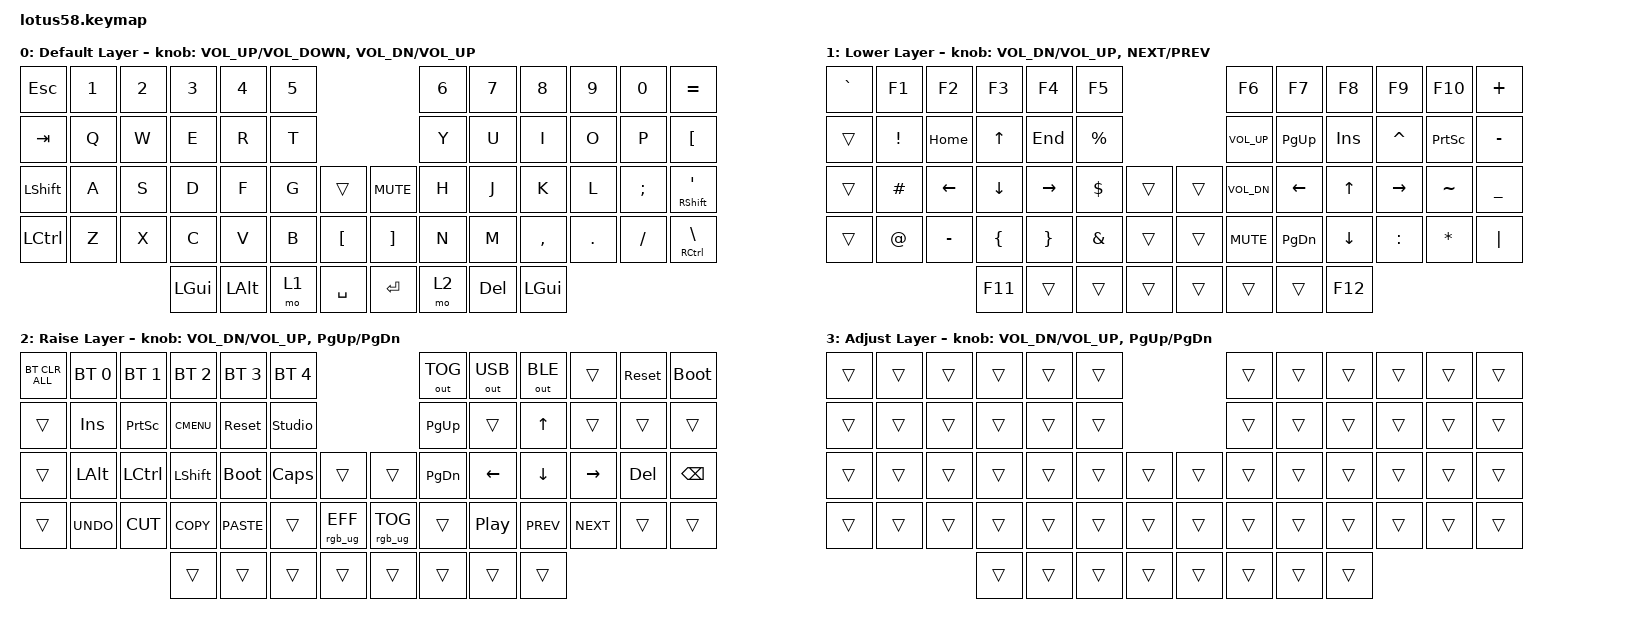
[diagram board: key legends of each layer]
/*
 * Copyright (c) 2022 The ZMK Contributors
 *
 * SPDX-License-Identifier: MIT
 */

#include <dt-bindings/led/led.h>
#include <behaviors.dtsi>
#include <dt-bindings/zmk/bt.h>
#include <dt-bindings/zmk/keys.h>
#include <dt-bindings/zmk/outputs.h>
#include <dt-bindings/zmk/rgb.h>

/*
 * Lotus58 Glow v1.23 每键 RGB
 * 每半 29 颗 SK6812 mini-E，数据脚经 JP16(pad2-pad1) 接到 D1 = P0.06。
 * 用 SPI3 的 MOSI 模拟 WS2812 时序（nRF52840 上 SPI3 有独立 IRQ 47，
 * 不能用 SPI1：SPIM1 与 TWIM1 共用 IRQ 4，传输会一直等不到 END 并超时）。
 */

&pinctrl {
    spi3_default: spi3_default {
        group1 { psels = <NRF_PSEL(SPIM_MOSI, 0, 6)>; };
    };

    spi3_sleep: spi3_sleep {
        group1 {
            psels = <NRF_PSEL(SPIM_MOSI, 0, 6)>;
            low-power-enable;
        };
    };
};

&spi3 {
    compatible = "nordic,nrf-spim";
    status = "okay";
    pinctrl-0 = <&spi3_default>;
    pinctrl-1 = <&spi3_sleep>;
    pinctrl-names = "default", "sleep";

    led_strip: ws2812@0 {
        compatible = "worldsemi,ws2812-spi";
        reg = <0>;
        spi-max-frequency = <4000000>;

        /* 每半实际安装的 LED 数量，按你焊的颗数改 */

        chain-length = <29>;
        spi-one-frame = <0x70>;
        spi-zero-frame = <0x40>;
        color-mapping = <LED_COLOR_ID_GREEN LED_COLOR_ID_RED LED_COLOR_ID_BLUE>;
    };
};

/ {
    chosen { zmk,underglow = &led_strip; };
};

// Encoders

&sensors { triggers-per-rotation = <30>; };

&left_encoder { steps = <60>; };

&right_encoder { steps = <60>; };

/ {
    combos {
        compatible = "zmk,combos";

        combo_dsklg {
            timeout-ms = <100>;
            key-positions = <24 52>;
            layers = <0>;
            bindings = <&kp LGUI>;
        };
    };

    behaviors {
        fofunc: four_ffour {
            compatible = "zmk,behavior-mod-morph";
            #binding-cells = <0>;
            bindings = <&kp N4>, <&kp F4>;

            mods = <(MOD_LALT|MOD_RALT)>;
        };

        sleft: s_left {
            compatible = "zmk,behavior-mod-morph";
            #binding-cells = <0>;
            bindings = <&kp S>, <&kp LEFT>;

            mods = <(MOD_LGUI|MOD_RGUI)>;
        };

        fright: f_right {
            compatible = "zmk,behavior-mod-morph";
            #binding-cells = <0>;
            bindings = <&kp F>, <&kp RIGHT>;

            mods = <(MOD_LGUI|MOD_RGUI)>;
        };
    };

    keymap {
        compatible = "zmk,keymap";

        default_layer {
            display-name = "Default Layer";

            //   ------------------------------------------------------------------------------------------------------------
            //  0|  ESC  |  1  |  2  |  3   |  4   |  5   |                     |  6   |  7    |  8    |  9   |   0   |   =   | 11
            // 12|  TAB  |  Q  |  W  |  E   |  R   |  T   |                     |  Y   |  U    |  I    |  O   |   P   |   [   | 23
            // 24|  SFT  |  A  |  S  |  D   |  F   |  G   |  RESET  |  | RESET  |  H   |  J    |  K    |  L   |   ;   | ' SFT | 37
            // 38|  CTRL |  Z  |  X  |  C   |  V   |  B   |  MUTE   |  | PLAY   |  N   |  M    |  ,    |  .   |   /   | \ CTRL| 51
            // 52                    |ENT RS|  ALT | SPACE|DELETE LW|  |ENTER RS| BSPC |  ] LW | RGUI  |                        59

            bindings = <
&kp ESC    &kp N1  &kp N2  &kp N3    &kp N4    &kp N5                         &kp N6  &kp N7   &kp N8     &kp N9   &kp N0    &kp EQUAL
&kp TAB    &kp Q   &kp W   &kp E     &kp R     &kp T                          &kp Y   &kp U    &kp I      &kp O    &kp P     &kp LBKT
&kp LSHFT  &kp A   &kp S   &kp D     &kp F     &kp G   &trans     &kp C_MUTE  &kp H   &kp J    &kp K      &kp L    &kp SEMI  &mt RSHFT SQT
&kp LCTRL  &kp Z   &kp X   &kp C     &kp V     &kp B   &kp LBKT   &kp RBKT    &kp N   &kp M    &kp COMMA  &kp DOT  &kp FSLH  &mt RCTRL BSLH
                           &kp LGUI  &kp LALT  &mo 1   &kp SPACE  &kp RET     &mo 2   &kp DEL  &kp LGUI
            >;

            sensor-bindings =
                <&inc_dec_kp C_VOLUME_UP C_VOLUME_DOWN>,
                <&inc_dec_kp C_VOL_DN C_VOL_UP>;
        };

        lower_layer {
            display-name = "Lower Layer";

            // ------------------------------------------------------------------------------------------------------------
            // | `     |  F1 |  F2 |  F3  |  F4  |  F5  |                   |  F6  |  F7   |  F8   |  F9  |  F10  |  F11  |
            // |       |  !  | HOME|   ^  |  END |  %   |                   | VOL^ |  PGUP |  INS  |  ^   |  PSCR |   -   |
            // |       |  #  |  <- |   v  | ->   |  $   |        |  |       | VOLv |    <- |   ^   |  ->  |   ~   |   _   |
            // |       |  @  |  -  |  (   |  )   |  &   |        |  |       | MUTE |  PGDN |   v   |  :   |   *   |   |   |
            //                     |  F11 |      |      |        |  |       |      |       |  F12  |

            bindings = <
&kp GRAVE  &kp F1    &kp F2     &kp F3    &kp F4     &kp F5                     &kp F6        &kp F7     &kp F8    &kp F9     &kp F10    &kp PLUS
&trans     &kp EXCL  &kp HOME   &kp UP    &kp END    &kp PRCNT                  &kp C_VOL_UP  &kp PG_UP  &kp INS   &kp CARET  &kp PSCRN  &kp MINUS
&trans     &kp HASH  &kp LEFT   &kp DOWN  &kp RIGHT  &kp DLLR   &trans  &trans  &kp C_VOL_DN  &kp LEFT   &kp UP    &kp RIGHT  &kp TILDE  &kp UNDER
&trans     &kp AT    &kp MINUS  &kp LBRC  &kp RBRC   &kp AMPS   &trans  &trans  &kp C_MUTE    &kp PG_DN  &kp DOWN  &kp COLON  &kp STAR   &kp PIPE
                                &kp F11   &trans     &trans     &trans  &trans  &trans        &trans     &kp F12
            >;

            sensor-bindings = <&inc_dec_kp C_VOL_DN C_VOL_UP &inc_dec_kp C_NEXT C_PREV>;
        };

        raise_layer {
            display-name = "Raise Layer";

            // ------------------------------------------------------------------------------------------------------------
            // |BTCLR| BT1  | BT2  |  BT3  |  BT4  |  BT5 |                |OUTTOG|OUTUSB| OUTBT |      | RESET | FLASH |
            // |     | INS  | PSCR | GUI   | RESET |      |                | PGUP |      |   ^   |      |       |       |
            // |     | ALT  | CTRL | SHIFT | FLASH | CAPS |      |  |      | PGDN |   <- |   v   |  ->  |  DEL  | BSPC  |
            // |     | UNDO | CUT  | COPY  | PASTE |      |      |  |      |      |  |>  |  <|<| | |>|> |       |       |
            //                     |       |       |      |      |  |      |      |      |       |

            bindings = <
&bt BT_CLR_ALL  &bt BT_SEL 0  &bt BT_SEL 1  &bt BT_SEL 2  &bt BT_SEL 3  &bt BT_SEL 4                             &out OUT_TOG     &out OUT_USB  &out OUT_BLE  &trans      &sys_reset  &bootloader
&trans          &kp INS       &kp PSCRN     &kp K_CMENU   &sys_reset    &studio_unlock                           &kp PG_UP        &trans        &kp UP        &trans      &trans      &trans
&trans          &kp LALT      &kp LCTRL     &kp LSHFT     &bootloader   &kp CLCK        &trans  &trans           &kp PG_DN        &kp LEFT      &kp DOWN      &kp RIGHT   &kp DEL     &kp BSPC
&trans          &kp K_UNDO    &kp K_CUT     &kp K_COPY    &kp K_PASTE   &trans          &rgb_ug RGB_EFF  &rgb_ug RGB_TOG  &trans           &kp C_PP      &kp C_PREV    &kp C_NEXT  &trans      &trans
                                            &trans        &trans        &trans          &trans  &trans           &trans           &trans        &trans
            >;

            sensor-bindings = <&inc_dec_kp C_VOL_DN C_VOL_UP &inc_dec_kp PG_UP PG_DN>;
        };

        adjust_layer {
            display-name = "Adjust Layer";

            // ------------------------------------------------------------------------------------------------------------
            // |BTCLR| BT1  | BT2  |  BT3  |  BT4  |  BT5 |                |OUTTOG|OUTUSB| OUTBT |      | RESET | FLASH |
            // |     | INS  | PSCR | GUI   | RESET |      |                | PGUP |      |   ^   |      |       |       |
            // |     | ALT  | CTRL | SHIFT | FLASH | CAPS |      |  |      | PGDN |   <- |   v   |  ->  |  DEL  | BSPC  |
            // |     | UNDO | CUT  | COPY  | PASTE |      |      |  |      |      |  |>  |  <|<| | |>|> |       |       |
            //                     |       |       |      |      |  |      |      |      |       |

            bindings = <
&trans  &trans  &trans  &trans  &trans  &trans                  &trans  &trans  &trans  &trans  &trans  &trans
&trans  &trans  &trans  &trans  &trans  &trans                  &trans  &trans  &trans  &trans  &trans  &trans
&trans  &trans  &trans  &trans  &trans  &trans  &trans  &trans  &trans  &trans  &trans  &trans  &trans  &trans
&trans  &trans  &trans  &trans  &trans  &trans  &trans  &trans  &trans  &trans  &trans  &trans  &trans  &trans
                        &trans  &trans  &trans  &trans  &trans  &trans  &trans  &trans
            >;

            sensor-bindings = <&inc_dec_kp C_VOL_DN C_VOL_UP &inc_dec_kp PG_UP PG_DN>;
        };
    };

    extra_layer {
        display-name = "Extra Layer";

        // ------------------------------------------------------------------------------------------------------------
        // |BTCLR| BT1  | BT2  |  BT3  |  BT4  |  BT5 |                |OUTTOG|OUTUSB| OUTBT |      | RESET | FLASH |
        // |     | INS  | PSCR | GUI   | RESET |      |                | PGUP |      |   ^   |      |       |       |
        // |     | ALT  | CTRL | SHIFT | FLASH | CAPS |      |  |      | PGDN |   <- |   v   |  ->  |  DEL  | BSPC  |
        // |     | UNDO | CUT  | COPY  | PASTE |      |      |  |      |      |  |>  |  <|<| | |>|> |       |       |
        //                     |       |       |      |      |  |      |      |      |       |

        bindings = <
&trans &trans &trans &trans &trans &trans                    &trans  &trans  &trans  &trans     &trans  &trans
&trans &trans &trans &trans &trans &trans                    &trans  &trans  &trans  &trans     &trans  &trans
&trans     &trans     &trans    &trans    &trans  &trans     &trans   &trans    &trans     &trans      &trans      &trans  &trans &trans
&trans     &trans   &trans    &trans   &trans  &trans       &trans   &trans    &trans        &trans      &trans    &trans &trans  &trans
                                     &trans       &trans       &trans       &trans   &trans    &trans        &trans        &trans
        >;

        sensor-bindings = <&inc_dec_kp C_VOL_DN C_VOL_UP &inc_dec_kp PG_UP PG_DN>;
    };
};
